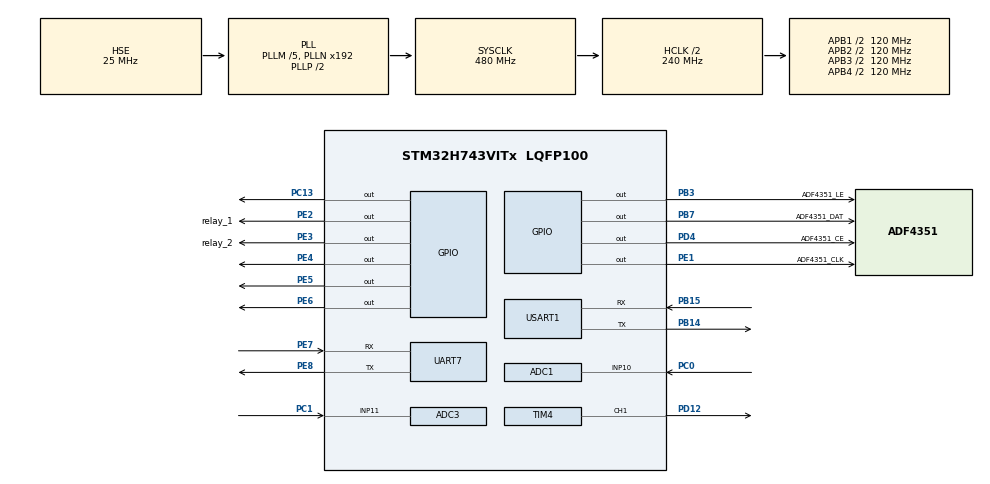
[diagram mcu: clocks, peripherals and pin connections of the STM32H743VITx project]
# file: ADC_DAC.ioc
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ADC1.Channel-1\#ChannelRegularConversion=ADC_CHANNEL_10
ADC1.ClockPrescaler=ADC_CLOCK_ASYNC_DIV1
ADC1.ConversionDataManagement=ADC_CONVERSIONDATA_DMA_CIRCULAR
ADC1.ExternalTrigConv=ADC_EXTERNALTRIG_T15_TRGO
ADC1.NbrOfConversion=1
ADC1.NbrOfConversionFlag=1
ADC1.OffsetNumber-1\#ChannelRegularConversion=ADC_OFFSET_NONE
ADC1.OffsetSignedSaturation-1\#ChannelRegularConversion=DISABLE
ADC1.OversamplingMode=ENABLE
ADC1.Rank-1\#ChannelRegularConversion=1
ADC1.Ratio=1024
ADC1.RightBitShift=ADC_RIGHTBITSHIFT_10
ADC1.SamplingTime-1\#ChannelRegularConversion=ADC_SAMPLETIME_810CYCLES_5
ADC1.master=1
ADC3.Channel-0\#ChannelRegularConversion=ADC_CHANNEL_11
ADC3.ConversionDataManagement=ADC_CONVERSIONDATA_DMA_CIRCULAR
ADC3.ExternalTrigConv=ADC_EXTERNALTRIG_T1_TRGO
ADC3.NbrOfConversionFlag=1
ADC3.OffsetNumber-0\#ChannelRegularConversion=ADC_OFFSET_NONE
ADC3.OffsetSignedSaturation-0\#ChannelRegularConversion=DISABLE
ADC3.OversamplingMode=ENABLE
ADC3.Rank-0\#ChannelRegularConversion=1
ADC3.Ratio=1024
ADC3.RightBitShift=ADC_RIGHTBITSHIFT_10
ADC3.SamplingTime-0\#ChannelRegularConversion=ADC_SAMPLETIME_1CYCLE_5
CORTEX_M7.AccessPermission-Cortex_Memory_Protection_Unit_Region0_Settings=MPU_REGION_FULL_ACCESS
CORTEX_M7.AccessPermission-Cortex_Memory_Protection_Unit_Region1_Settings=MPU_REGION_FULL_ACCESS
CORTEX_M7.AccessPermission-Cortex_Memory_Protection_Unit_Region2_Settings=MPU_REGION_FULL_ACCESS
CORTEX_M7.AccessPermission-Cortex_Memory_Protection_Unit_Region3_Settings=MPU_REGION_FULL_ACCESS
CORTEX_M7.AccessPermission-Cortex_Memory_Protection_Unit_Region4_Settings=MPU_REGION_FULL_ACCESS
CORTEX_M7.AccessPermission_S-Cortex_Memory_Protection_Unit_Region1_Settings_S=MPU_REGION_FULL_ACCESS
CORTEX_M7.AccessPermission_S-Cortex_Memory_Protection_Unit_Region2_Settings_S=MPU_REGION_FULL_ACCESS
CORTEX_M7.AccessPermission_Spec=MPU_REGION_FULL_ACCESS
CORTEX_M7.BaseAddress-Cortex_Memory_Protection_Unit_Region0_Settings=0x24000000
CORTEX_M7.BaseAddress-Cortex_Memory_Protection_Unit_Region1_Settings=0x30000000
CORTEX_M7.BaseAddress-Cortex_Memory_Protection_Unit_Region2_Settings=0x30020000
CORTEX_M7.BaseAddress-Cortex_Memory_Protection_Unit_Region3_Settings=0x30040000
CORTEX_M7.BaseAddress-Cortex_Memory_Protection_Unit_Region4_Settings=0x38000000
CORTEX_M7.BaseAddress_S-Cortex_Memory_Protection_Unit_Region1_Settings_S=0x30000000
CORTEX_M7.BaseAddress_S-Cortex_Memory_Protection_Unit_Region2_Settings_S=0x30020000
CORTEX_M7.BaseAddress_Spec=0x24000000
CORTEX_M7.CPU_DCache=Enabled
CORTEX_M7.CPU_ICache=Enabled
CORTEX_M7.DisableExec_S-Cortex_Memory_Protection_Unit_Region1_Settings_S=MPU_INSTRUCTION_ACCESS_ENABLE
CORTEX_M7.DisableExec_S-Cortex_Memory_Protection_Unit_Region2_Settings_S=MPU_INSTRUCTION_ACCESS_ENABLE
CORTEX_M7.DisableExec_Spec=MPU_INSTRUCTION_ACCESS_ENABLE
CORTEX_M7.Enable-Cortex_Memory_Protection_Unit_Region0_Settings=MPU_REGION_ENABLE
CORTEX_M7.Enable-Cortex_Memory_Protection_Unit_Region1_Settings=MPU_REGION_ENABLE
CORTEX_M7.Enable-Cortex_Memory_Protection_Unit_Region2_Settings=MPU_REGION_ENABLE
CORTEX_M7.Enable-Cortex_Memory_Protection_Unit_Region3_Settings=MPU_REGION_ENABLE
CORTEX_M7.Enable-Cortex_Memory_Protection_Unit_Region4_Settings=MPU_REGION_ENABLE
CORTEX_M7.Enable_S-Cortex_Memory_Protection_Unit_Region1_Settings_S=MPU_REGION_ENABLE
CORTEX_M7.Enable_S-Cortex_Memory_Protection_Unit_Region2_Settings_S=MPU_REGION_ENABLE
CORTEX_M7.IsBufferable-Cortex_Memory_Protection_Unit_Region0_Settings=MPU_ACCESS_NOT_BUFFERABLE
CORTEX_M7.IsBufferable_S-Cortex_Memory_Protection_Unit_Region1_Settings_S=MPU_ACCESS_NOT_BUFFERABLE
CORTEX_M7.IsBufferable_Spec=MPU_ACCESS_BUFFERABLE
CORTEX_M7.IsCacheable-Cortex_Memory_Protection_Unit_Region0_Settings=MPU_ACCESS_NOT_CACHEABLE
CORTEX_M7.IsCacheable_S-Cortex_Memory_Protection_Unit_Region1_Settings_S=MPU_ACCESS_NOT_CACHEABLE
CORTEX_M7.IsCacheable_Spec=MPU_ACCESS_CACHEABLE
CORTEX_M7.IsShareable_Spec=MPU_ACCESS_NOT_SHAREABLE
CORTEX_M7.MPU_Control=MPU_PRIVILEGED_DEFAULT
CORTEX_M7.Size-Cortex_Memory_Protection_Unit_Region0_Settings=MPU_REGION_SIZE_512KB
CORTEX_M7.Size-Cortex_Memory_Protection_Unit_Region1_Settings=MPU_REGION_SIZE_128KB
CORTEX_M7.Size-Cortex_Memory_Protection_Unit_Region2_Settings=MPU_REGION_SIZE_128KB
CORTEX_M7.Size-Cortex_Memory_Protection_Unit_Region3_Settings=MPU_REGION_SIZE_32KB
CORTEX_M7.Size-Cortex_Memory_Protection_Unit_Region4_Settings=MPU_REGION_SIZE_64KB
CORTEX_M7.Size_S-Cortex_Memory_Protection_Unit_Region1_Settings_S=MPU_REGION_SIZE_128KB
CORTEX_M7.Size_S-Cortex_Memory_Protection_Unit_Region2_Settings_S=MPU_REGION_SIZE_128KB
CORTEX_M7.Size_Spec=MPU_REGION_SIZE_512KB
CORTEX_M7.SubRegionDisable_Spec=0x0
CORTEX_M7.TypeExtField-Cortex_Memory_Protection_Unit_Region0_Settings=MPU_TEX_LEVEL1
CORTEX_M7.TypeExtField-Cortex_Memory_Protection_Unit_Region1_Settings=MPU_TEX_LEVEL1
CORTEX_M7.TypeExtField-Cortex_Memory_Protection_Unit_Region2_Settings=MPU_TEX_LEVEL1
CORTEX_M7.TypeExtField-Cortex_Memory_Protection_Unit_Region3_Settings=MPU_TEX_LEVEL1
CORTEX_M7.TypeExtField-Cortex_Memory_Protection_Unit_Region4_Settings=MPU_TEX_LEVEL1
CORTEX_M7.TypeExtField_S-Cortex_Memory_Protection_Unit_Region1_Settings_S=MPU_TEX_LEVEL1
CORTEX_M7.TypeExtField_S-Cortex_Memory_Protection_Unit_Region2_Settings_S=MPU_TEX_LEVEL1
CORTEX_M7.TypeExtField_Spec=MPU_TEX_LEVEL1
Dma.ADC1.0.Direction=DMA_PERIPH_TO_MEMORY
Dma.ADC1.0.EventEnable=DISABLE
Dma.ADC1.0.FIFOMode=DMA_FIFOMODE_DISABLE
Dma.ADC1.0.Instance=DMA1_Stream1
Dma.ADC1.0.MemDataAlignment=DMA_MDATAALIGN_HALFWORD
Dma.ADC1.0.MemInc=DMA_MINC_ENABLE
Dma.ADC1.0.Mode=DMA_NORMAL
Dma.ADC1.0.PeriphDataAlignment=DMA_PDATAALIGN_HALFWORD
Dma.ADC1.0.PeriphInc=DMA_PINC_DISABLE
Dma.ADC1.0.Polarity=HAL_DMAMUX_REQ_GEN_RISING
Dma.ADC1.0.Priority=DMA_PRIORITY_HIGH
Dma.ADC1.0.RequestNumber=1
Dma.ADC1.0.SignalID=NONE
Dma.ADC1.0.SyncEnable=DISABLE
Dma.ADC1.0.SyncPolarity=HAL_DMAMUX_SYNC_NO_EVENT
Dma.ADC1.0.SyncRequestNumber=1
Dma.ADC1.0.SyncSignalID=NONE
Dma.ADC3.1.Direction=DMA_PERIPH_TO_MEMORY
Dma.ADC3.1.EventEnable=DISABLE
Dma.ADC3.1.FIFOMode=DMA_FIFOMODE_DISABLE
Dma.ADC3.1.Instance=DMA2_Stream1
Dma.ADC3.1.MemDataAlignment=DMA_MDATAALIGN_HALFWORD
Dma.ADC3.1.MemInc=DMA_MINC_ENABLE
Dma.ADC3.1.Mode=DMA_NORMAL
Dma.ADC3.1.PeriphDataAlignment=DMA_PDATAALIGN_HALFWORD
Dma.ADC3.1.PeriphInc=DMA_PINC_DISABLE
Dma.ADC3.1.Polarity=HAL_DMAMUX_REQ_GEN_RISING
Dma.ADC3.1.Priority=DMA_PRIORITY_HIGH
Dma.ADC3.1.RequestNumber=1
Dma.ADC3.1.SignalID=NONE
Dma.ADC3.1.SyncEnable=DISABLE
Dma.ADC3.1.SyncPolarity=HAL_DMAMUX_SYNC_NO_EVENT
Dma.ADC3.1.SyncRequestNumber=1
Dma.ADC3.1.SyncSignalID=NONE
Dma.Request0=ADC1
Dma.Request1=ADC3
Mcu.Family=STM32H7
Mcu.Name=STM32H743VITx
Mcu.Package=LQFP100
NVIC.DMA1_Stream1_IRQn=true\:0\:0\:false\:false\:true\:false\:true\:true
NVIC.DMA2_Stream1_IRQn=true\:0\:0\:false\:false\:true\:false\:true\:true
NVIC.PriorityGroup=NVIC_PRIORITYGROUP_4
NVIC.TIM3_IRQn=true\:0\:0\:false\:false\:true\:true\:true\:true
NVIC.TIM4_IRQn=true\:0\:0\:false\:false\:true\:true\:true\:true
NVIC.UART7_IRQn=true\:0\:0\:false\:false\:true\:true\:true\:true
PA13\ (JTMS/SWDIO).Mode=Serial_Wire
PA13\ (JTMS/SWDIO).Signal=DEBUG_JTMS-SWDIO
PA14\ (JTCK/SWCLK).Mode=Serial_Wire
PA14\ (JTCK/SWCLK).Signal=DEBUG_JTCK-SWCLK
PB14.Mode=Asynchronous
PB14.Signal=USART1_TX
PB15.Mode=Asynchronous
PB15.Signal=USART1_RX
PB3\ (JTDO/TRACESWO).GPIO_Label=ADF4351_LE
PB3\ (JTDO/TRACESWO).GPIO_PuPd=GPIO_PULLUP
PB3\ (JTDO/TRACESWO).GPIO_Speed=GPIO_SPEED_FREQ_VERY_HIGH
PB3\ (JTDO/TRACESWO).PinState=GPIO_PIN_SET
PB3\ (JTDO/TRACESWO).Signal=GPIO_Output
PB7.GPIO_Label=ADF4351_DAT
PB7.GPIO_PuPd=GPIO_PULLUP
PB7.GPIO_Speed=GPIO_SPEED_FREQ_VERY_HIGH
PB7.PinState=GPIO_PIN_SET
PB7.Signal=GPIO_Output
PC0.Signal=ADCx_INP10
PC1.Signal=ADCx_INP11
PC13.GPIO_PuPd=GPIO_PULLDOWN
PC13.PinState=GPIO_PIN_SET
PC13.Signal=GPIO_Output
PD12.Signal=S_TIM4_CH1
PD4.GPIO_Label=ADF4351_CE
PD4.GPIO_PuPd=GPIO_PULLUP
PD4.GPIO_Speed=GPIO_SPEED_FREQ_VERY_HIGH
PD4.PinState=GPIO_PIN_SET
PD4.Signal=GPIO_Output
PE1.GPIO_Label=ADF4351_CLK
PE1.GPIO_PuPd=GPIO_PULLUP
PE1.GPIO_Speed=GPIO_SPEED_FREQ_VERY_HIGH
PE1.PinState=GPIO_PIN_SET
PE1.Signal=GPIO_Output
PE2.GPIO_Label=relay_1
PE2.GPIO_PuPd=GPIO_PULLDOWN
PE2.GPIO_Speed=GPIO_SPEED_FREQ_VERY_HIGH
PE2.PinState=GPIO_PIN_RESET
PE2.Signal=GPIO_Output
PE3.GPIO_Label=relay_2
PE3.GPIO_PuPd=GPIO_PULLDOWN
PE3.GPIO_Speed=GPIO_SPEED_FREQ_VERY_HIGH
PE3.Signal=GPIO_Output
PE4.GPIO_PuPd=GPIO_PULLDOWN
PE4.GPIO_Speed=GPIO_SPEED_FREQ_VERY_HIGH
PE4.Signal=GPIO_Output
PE5.GPIO_PuPd=GPIO_PULLDOWN
PE5.GPIO_Speed=GPIO_SPEED_FREQ_VERY_HIGH
PE5.Signal=GPIO_Output
PE6.GPIO_PuPd=GPIO_PULLDOWN
PE6.GPIO_Speed=GPIO_SPEED_FREQ_VERY_HIGH
PE6.Signal=GPIO_Output
PE7.Mode=Asynchronous
PE7.Signal=UART7_RX
PE8.Mode=Asynchronous
PE8.Signal=UART7_TX
PH0-OSC_IN\ (PH0).Mode=HSE-External-Oscillator
PH0-OSC_IN\ (PH0).Signal=RCC_OSC_IN
PH1-OSC_OUT\ (PH1).Mode=HSE-External-Oscillator
PH1-OSC_OUT\ (PH1).Signal=RCC_OSC_OUT
ProjectManager.HeapSize=0x200
ProjectManager.StackSize=0x7400
ProjectManager.TargetToolchain=MDK-ARM V5.32
RCC.ADCFreq_Value=72000000
RCC.APB1Freq_Value=120000000
RCC.APB2Freq_Value=120000000
RCC.APB3Freq_Value=120000000
RCC.APB4Freq_Value=120000000
RCC.CortexFreq_Value=480000000
RCC.D1PPRE=RCC_APB3_DIV2
RCC.D2PPRE1=RCC_APB1_DIV2
RCC.D2PPRE2=RCC_APB2_DIV2
RCC.D3PPRE=RCC_APB4_DIV2
RCC.DIVM1=5
RCC.DIVM2=25
RCC.DIVN1=192
RCC.DIVN2=360
RCC.DIVP2=5
RCC.HCLKFreq_Value=240000000
RCC.HPRE=RCC_HCLK_DIV2
RCC.HSE_Timout=5000
RCC.PLLSourceVirtual=RCC_PLLSOURCE_HSE
RCC.ProductRev=revV
RCC.SYSCLKFreq_VALUE=480000000
RCC.SYSCLKSource=RCC_SYSCLKSOURCE_PLLCLK
RCC.USBFreq_Value=480000000
SH.ADCx_INP10.0=ADC2_INP10
SH.ADCx_INP10.1=ADC1_INP10,IN10-Single-Ended
SH.ADCx_INP11.0=ADC3_INP11,IN11-Single-Ended
SH.S_TIM4_CH1.0=TIM4_CH1,PWM Generation1 CH1
TIM1.AutoReloadPreload=TIM_AUTORELOAD_PRELOAD_ENABLE
TIM1.Period=50-1
TIM1.Prescaler=60-1
TIM1.TIM_MasterOutputTrigger=TIM_TRGO_UPDATE
TIM15.AutoReloadPreload=TIM_AUTORELOAD_PRELOAD_ENABLE
TIM15.Period=50-1
TIM15.Prescaler=60-1
TIM15.TIM_MasterOutputTrigger=TIM_TRGO_UPDATE
TIM2.AutoReloadPreload=TIM_AUTORELOAD_PRELOAD_ENABLE
TIM2.Period=20-1
TIM2.Prescaler=240-1
TIM3.AutoReloadPreload=TIM_AUTORELOAD_PRELOAD_ENABLE
TIM3.Period=100-1
TIM3.Prescaler=240-1
TIM4.AutoReloadPreload=TIM_AUTORELOAD_PRELOAD_ENABLE
TIM4.Channel-PWM\ Generation1\ CH1=TIM_CHANNEL_1
TIM4.Period=10-1
TIM4.Prescaler=3-1
TIM4.Pulse-PWM\ Generation1\ CH1=5-1
TIM6.AutoReloadPreload=TIM_AUTORELOAD_PRELOAD_ENABLE
TIM6.Period=200-1
TIM6.Prescaler=1200-1
TIM6.TIM_MasterOutputTrigger=TIM_TRGO_UPDATE
TIM7.Prescaler=239
UART7.RXFIFOThreshold=RXFIFO_THRESHOLD_1EIGHTHFULL
UART7.TXFIFOThreshold=TXFIFO_THRESHOLD_1EIGHTHFULL
USART1.VirtualMode-Asynchronous=VM_ASYNC
VP_TIM15_VS_ClockSourceINT.Mode=Internal
VP_TIM1_VS_ClockSourceINT.Mode=Internal
VP_TIM2_VS_ClockSourceINT.Mode=Internal
VP_TIM3_VS_ClockSourceINT.Mode=Internal
VP_TIM4_VS_ClockSourceINT.Mode=Internal
VP_TIM6_VS_ClockSourceINT.Mode=Enable_Timer
VP_TIM7_VS_ClockSourceINT.Mode=Enable_Timer
board=custom

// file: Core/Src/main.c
/* USER CODE BEGIN Header */
/**
  ******************************************************************************
  * @file           : main.c
  * @brief          : Main program body
  ******************************************************************************
  * @attention
  *
  * Copyright (c) 2022 STMicroelectronics.
  * All rights reserved.
  *
  * This software is licensed under terms that can be found in the LICENSE file
  * in the root directory of this software component.
  * If no LICENSE file comes with this software, it is provided AS-IS.
  *
  ******************************************************************************
  */
/* USER CODE END Header */
#include "main.h"
#include "adc.h"
#include "dma.h"
#include "tim.h"
#include "usart.h"
#include "gpio.h"

/* USER CODE BEGIN Includes */
int length_flag = 0;
int load_flag = 0;
char screen_message[30 ] = {0};
uint32_t frequency = 25000000;
/* USER CODE END Includes */

/* USER CODE BEGIN PTD */
ALIGN_32BYTES (uint16_t adc1_data[1000])  __attribute__((section(".ARM.__at_0x30020000")));
ALIGN_32BYTES (uint16_t adc3_data[1000]) 	__attribute__((section(".ARM.__at_0x30000000")));

//存放单个频点100次测量的结果
float M_single[100] = {0};
//临时存放，用于数据的排序
float comp[100] = {0};
//表示adc采集完成__at_0x24000000
__IO uint8_t AdcConvEnd = 0;
//全局临时变量，用于各种for循环
uint32_t x_tmp = 0;
uint32_t y_tmp = 0;
uint32_t z_tmp = 0;
//标志位，表示初始化设计分段相关的数据
uint32_t check_K_flag = 0;

//用于存放dac输出的值
uint16_t Dat[20]={2084};
//////////////////////////////////////////////////////
//以下数据用于在判断完成线长的范围后进行具体线长的测量
//////////////////////////////////////////////////////
//三个测量区间的相位检测起始频率
float M10_fre_start = 6000000;//6M
float M14_fre_start = 5000000;//5M
float M18_fre_start = 4000000;//4M

float M5_fre_start 		= 36000000;//4M
float CM250_fre_start = 93000000;//93M
float CM100_fre_start = 37000000;//37M
float CM50_fre_start 	= 75000000;//75M
float CM20_fre_start 	= 113000000;//113M
float CM2_fre_start 	= 182000000;//182M

//存放初始化过程中测量得到的四个长度下的值

float M5_START[10] 		= {154,153,152,151,150,149,148,147,146,145};
float CM250_START[10] = {147,145,144,143,142,141,140,139,137,136};
float CM100_START[10] = {147,145,144,143,142,141,140,139,137,136};
float CM50_START[10] 	= {166,166,166,165,165,165,165,165,165,165};
float CM20_START[10] 	= {151,151,151,151,151,151,151,151,151,151};
float CM2_START[10] 	= {147,145,144,143,142,141,140,139,137,136};

float M5_END[10] 		= {58,56,55,52,52,50,50,48,47,45};
float CM250_END[10] = {57,56,54,52,51,50,49,47,46,44};
float CM100_END[10] = {57,56,54,52,51,50,49,47,46,44};
float CM50_END[10] 	= {57,56,54,52,51,50,49,47,46,44};
float CM20_END[10] 	= {57,57,57,57,57,57,57,56,56,56};
float CM2_END[10] 	= {21,21,21,21,21,21,21,21,21,21};

float M10_START[10] = {147,145,144,143,142,141,140,139,137,136};
float M14_START[10] = {109,108,108,107,107,105,105,104,104,104};
float M18_START[10] = {103,102,101,101,100,100,99,98,98,97};
float M10_END[10] = {57,56,54,52,51,50,49,47,46,44};
float M14_END[10] = {38,37,35,33,31,29,27,25,24,22};
float M18_END[10] = {73,71,69,67,65,63,60,58,56,54};
//存放三个测量区间的数据的斜率
float M10_K[10] = {0.224775,0.222278, 0.224775, 0.227273, 0.227273, 0.224775, 0.227273, 0.227273, 0.227273, 0.229770};
float M14_K[10] = {0.182848, 0.182848, 0.187999, 0.190574, 0.195725, 0.195725, 0.200876, 0.200876, 0.206026, 0.211177};
float M18_K[10] = {0.15345, 0.15857, 0.16368, 0.17391, 0.17903, 0.18926, 0.19949, 0.20460, 0.21483, 0.21995};

float M5_K[10] 		= {0.224775,0.222278, 0.224775, 0.227273, 0.227273, 0.224775, 0.227273, 0.227273, 0.227273, 0.229770};
float CM250_K[10] = {0.182848, 0.182848, 0.187999, 0.190574, 0.195725, 0.195725, 0.200876, 0.200876, 0.206026, 0.211177};
float CM100_K[10] 	= {0.15345, 0.15857, 0.16368, 0.17391, 0.17903, 0.18926, 0.19949, 0.20460, 0.21483, 0.21995};
float CM50_K[10]	 = {0.224775,0.222278, 0.224775, 0.227273, 0.227273, 0.224775, 0.227273, 0.227273, 0.227273, 0.229770};
float CM20_K[10] 	= {0.182848, 0.182848, 0.187999, 0.190574, 0.195725, 0.195725, 0.200876, 0.200876, 0.206026, 0.211177};
float CM2_K[10] 	= {0.15345, 0.15857, 0.16368, 0.17391, 0.17903, 0.18926, 0.19949, 0.20460, 0.21483, 0.21995};

//存放测量得到的10个相位值
float MUnknown[10] = {0};

//存放测量得到的线的长度
float Mlength = 15;

////////////////////////////////////////////////////////////
//以下数据用于判断线长属于哪个范围已进行后续的较为准确的测量
////////////////////////////////////////////////////////////
//存放在1M-2M测量的10个点的相位值
float M1_length[10] = {0};
//1M-2M测量的数据的对应频率值
float M1_fre[10] = {0};
//存放在1M-2M范围内经过校准后得到的斜率值，该值将是后续判断的基础

float M2_CM2 		= 0;
float M2_CM20 	= 33.714287 ;
float M2_CM50		= 49.999992 ;
float M2_CM100	= 80.571388;
float M2_CM250 	= 176.857071;
float M2_M5 		= 0;

float M1_5M  = 48.606060;
float M1_10M = 83.696968;
float M1_14M = 111.757637;
float M1_18M = 143.030426;
float M1_20M = 154.666550;
//存放在1M-2M范围内最终得到的斜率
float M1_Unknown = 0;
float M2_Unknown = 0;
//标志位，用于标识属于得到的测量结果属于哪个测量范围
uint32_t scale_flag = 0;

////////////////////////////////////////////////////////////
//以下数据用于负载判断与计算
////////////////////////////////////////////////////////////
//负载的类型标志位：0：开路;1:电阻;2:电容。
uint32_t Load_type = 0;
//ads1256在300-500mV的校正系数
float calib1256 = 0.000000603;
float Res_low 	= 0;
float Res_high 	= 0;
//用于校准的值
float Res_10M = 1.260830;
float Res_20M = 2.629039;
float Res_10M_K = 0.12608;
float Res_20M_K = 0.13145;
//电阻的大小
float Res_data = 0;
//电阻的校正标志位
uint32_t Res_calib_flag = 0;
//电缆的短路电阻阻值
float Res_length = 0;

//电容的长度测量值
float Cap_length = 0;
//电容的大小
float Cap_data = 0;
//参考的电缆容值与倍数乘积
float Cap_ref  = 1730;

void adc3_init(void)
{
//	HAL_ADC_DeInit(&hadc3);
	MX_ADC3_Init();	//初始化调用放这里, 确保在MX_DMA_Init()初始化后面
	Delay_Us(100);	//有地方说这里可以等等电压稳定后再校准

	if (HAL_ADCEx_Calibration_Start(&hadc3, ADC_CALIB_OFFSET, ADC_SINGLE_ENDED) != HAL_OK)
	{
			printf("hadc1 error with HAL_ADCEx_Calibration_Start\r\n");
			Error_Handler();
	}

	if (HAL_ADC_Start_DMA(&hadc3, (uint32_t *)adc3_data, 16) != HAL_OK)
	{
			printf("hadc3 error with HAL_ADC_Start_DMA\r\n");
			Error_Handler();
	}

	HAL_TIM_Base_Start(&htim1);
	while (!AdcConvEnd);
	AdcConvEnd = 0;
	HAL_ADC_DeInit(&hadc3);

}
void adc_saopin(void)
{
	MX_ADC1_Init();	//初始化调用放这里, 确保在MX_DMA_Init()初始化后面
	Delay_Us(100);	//有地方说这里可以等等电压稳定后再校准

	if (HAL_ADCEx_Calibration_Start(&hadc1, ADC_CALIB_OFFSET, ADC_SINGLE_ENDED) != HAL_OK)
	{
			printf("hadc1 error with HAL_ADCEx_Calibration_Start\r\n");
			Error_Handler();
	}

	if (HAL_ADC_Start_DMA(&hadc1, (uint32_t *)adc1_data, 16) != HAL_OK)
	{
			printf("hadc1 error with HAL_ADC_Start_DMA\r\n");
			Error_Handler();
	}

	HAL_TIM_Base_Start(&htim15);
	while (!AdcConvEnd);
	AdcConvEnd = 0;
	HAL_ADC_DeInit(&hadc1);
}

void SineWave()
{
    uint16_t i;
    for( i=0;i<20;i++)
    {
  		Dat[i]=2048;
    }
}

float get1256(void)
{
	float get_data = 0;
	get_data = ADS1256GetVolt(ADS1256_MUXP_AIN0,ADS1256_MUXN_AINCOM,ADS1256_GAIN_1);
	return get_data;
}

/* USER CODE END PTD */

void SystemClock_Config(void);
void PeriphCommonClock_Config(void);
static void MPU_Config(void);

int main(void)
{
  /* USER CODE BEGIN 1 */
	//系统初始化代码
//	{
  /* USER CODE END 1 */

  /* MPU Configuration--------------------------------------------------------*/
  MPU_Config();

  /* Enable I-Cache---------------------------------------------------------*/
  SCB_EnableICache();

  /* Enable D-Cache---------------------------------------------------------*/
  SCB_EnableDCache();

  /* MCU Configuration--------------------------------------------------------*/

  /* Reset of all peripherals, Initializes the Flash interface and the Systick. */
  HAL_Init();

  /* USER CODE BEGIN Init */
	uint32_t saopin = 0;
  /* USER CODE END Init */

  /* Configure the system clock */
  SystemClock_Config();

/* Configure the peripherals common clocks */
  PeriphCommonClock_Config();

  /* Initialize all configured peripherals */
  MX_GPIO_Init();
  MX_DMA_Init();
  MX_TIM7_Init();
  MX_TIM6_Init();
  MX_ADC1_Init();
  MX_USART1_UART_Init();
  MX_ADC3_Init();
  MX_TIM15_Init();
  MX_TIM1_Init();
  MX_UART7_Init();
  MX_TIM2_Init();
  MX_TIM3_Init();
  MX_TIM4_Init();
  /* USER CODE BEGIN 2 */
	HAL_TIM_PWM_Start(&htim4,TIM_CHANNEL_1);  //开启PWM通道1
//	SineWave();//生成正弦数据
//	HAL_DAC_Start_DMA(&hdac1,DAC_CHANNEL_2,(uint32_t *)Dat,20,DAC_ALIGN_12B_R);//开启DMA-DAC
//	HAL_TIM_Base_Start(&htim6);//打开定时器6
	double data = 0;
	float adata = 0;
	Close_All();
	Init_ad9910();
	Write_Amplitude(100);
	Freq_convert(10000);

	ADF4351Init();
	ADF4351WriteFreq(200);	//设置固定输出频率为400MHZ
	ADS1256_Init(ADS1256_GAIN_1,ADS1256_DRATE_2000SPS);
	workstate(0);
	gpio_length();
	uint16_t scope_tmp = 0;
	uint32_t gap = 100000;
	printf("hello\r\n");
	loadstate(0);
	show_load_data(0);

//	for(scope_tmp = 0;scope_tmp < 10;scope_tmp++)
//	{
//		x_tmp = 1000000+gap*scope_tmp;
//		Freq_convert(x_tmp);
//		printf("x_tmp = %d\r\n",x_tmp/100000);
//		Delay_Us(100);
//		for(x_tmp = 0;x_tmp<10;x_tmp++)
//		{
//			comp[x_tmp] = get1256();
//		}
//		QuickSort(comp,0,9);
//		MUnknown[0] =comp[4];
//		printf("%f\r\n",MUnknown[0]);
//	}
//	MUnknown[0] = length_scope();
//	printf("MUnknown[0]=%f\r\n",MUnknown[0]);

	Close_All();
	workstate(1);
	for(scope_tmp = 0;scope_tmp < 10;scope_tmp++)
	{
		CM2_K[scope_tmp]  	= (CM2_START[scope_tmp] 	-CM2_END[scope_tmp])	/18.5;
		CM20_K[scope_tmp]  	= (CM20_START[scope_tmp] 	-CM20_END[scope_tmp])	/23.7;
		CM50_K[scope_tmp]  	= (CM50_START[scope_tmp] 	-CM50_END[scope_tmp])	/54.7;
		CM100_K[scope_tmp]  = (CM100_START[scope_tmp] -CM100_END[scope_tmp])/161;
		CM250_K[scope_tmp]  = (CM250_START[scope_tmp] -CM250_END[scope_tmp])/260.4;
		M5_K[scope_tmp]  = (M5_START[scope_tmp] -M5_END[scope_tmp])/479.5;
		M10_K[scope_tmp] = (M10_START[scope_tmp]-M10_END[scope_tmp])/400.4;
		M14_K[scope_tmp] = (M14_START[scope_tmp]-M14_END[scope_tmp])/388.3;
		M18_K[scope_tmp] = (M18_START[scope_tmp]-M18_END[scope_tmp])/195.5;
	}
	workstate(0);
	while(1)
	{
		if(length_flag == 1)
		{
			gpio_length();
			workstate(1);
			length_flag = 0;
			M1_Unknown = length_scope();
			scope_judge();
		  printf("%d\r\n",scale_flag);
			cal_length();
			show_length(Mlength);
			workstate(0);
			loadstate(0);
			show_load_data(0);
			Cap_length = Mlength;
			Close_All();
		}
		if(load_flag == 1)
		{
			gpio_cap();
			workstate(1);
			load_flag = 0;
			Cap_value_get();
//			show_length(Mlength);
			Cap_data = (Mlength-Cap_length-5)*96.45/100;
			if(Cap_data<60)
			{
				loadstate(0);
				gpio_res();
				Init_ad9910();
				Write_Amplitude(100);
				Freq_convert(1000000);
				Delay_Us(100);
				for(x_tmp = 0;x_tmp<10;x_tmp++)
				{
					comp[x_tmp] = get1256();
				}
				QuickSort(comp,0,9);
				Res_low =comp[4];
				printf("%f\r\n",Res_low);
				if(Res_low < 168)
				{
					loadstate(0);
					show_load_data(0);
				}
				else
				{
					if(Cap_length>1370)
					{
						Res_data = -0.002870*Cap_length+0.389264*Res_low-53.506447;
						if(Res_data>27)
						{
							Res_data = Res_data-2;
						}
						if(Res_data<12.4)
						{
							Res_data = Res_data-1.45;
						}
					}
					else
					{
						Res_data = -0.001472*Cap_length+0.360192*Res_low-49.938362;
						if(Res_data <13.5)
						{
							Res_data = Res_data-1.8;
						}
						if((Res_data > 15.5)&&(Res_data<25))
						{
							Res_data = Res_data+0.5;
						}
					}
					loadstate(1);
					show_load_data(Res_data);
				}
			}

			else
			{	//小于16m的时候认为会测到偏大的
				if((Cap_length <1650)&&(Cap_length>9000))
				{
					if(Cap_data<200)
					{
						Cap_data = Cap_data-(1650-Cap_length)/1650*18;
						//跨段修正
						if((Cap_length<1400)&&(Mlength>1400))
						{
							Cap_data = Cap_data-25;
						}
					}
					else
					{
						Cap_data = Cap_data-(1650-Cap_length)/1650*15;
						//跨段修正
						if((Cap_length<1400)&&(Mlength>1400))
						{
							Cap_data = Cap_data-15;
						}
					}
				}
				//大于16m的时候认为会测到偏大的
				else if(Cap_length>=1650)
				{
					if(Cap_data<200)
					{
						if(Cap_data<150)
						{
							Cap_data = 100+Cap_data/100;
						}
						else
						{
							Cap_data = 150+Cap_data/100;
						}
					}
					else
					{
						Cap_data = Cap_data-5;
					}
				}
				loadstate(2);
				show_load_data(Cap_data);
			}

			Close_All();
			workstate(0);
		}
		if(check_K_flag == 10)
		{
			gpio_length();
			workstate(1);
			M1_10M = length_scope();
			calibration_show(M1_10M);
			printf("%f\r\n\r\n",M1_10M);
			get_K();
			workstate(0);
			check_K_flag = 0;
			Close_All();
		}
		else if(check_K_flag == 14)
		{
			gpio_length();
			workstate(1);
			M1_14M = length_scope();
			printf("%f\r\n\r\n",M1_14M);
			calibration_show(M1_14M);
			get_K();
			workstate(0);
			check_K_flag = 0;
			Close_All();
		}
		else if(check_K_flag == 18)
		{
			gpio_length();
			workstate(1);
			M1_18M = length_scope();
			printf("%f\r\n\r\n",M1_18M);
			calibration_show(M1_18M);
			get_K();
			workstate(0);
			check_K_flag = 0;
			Close_All();
		}
		else if(check_K_flag == 20)
		{
			gpio_length();
			workstate(1);
			M1_20M = length_scope();
			printf("%f\r\n\r\n",M1_20M);
			calibration_show(M1_20M);
			get_K();
			workstate(0);
			check_K_flag = 0;
			Close_All();
		}
		else if(check_K_flag == 81)
		{
			gpio_length();
			workstate(1);
			M1_5M = length_scope();
			printf("%f\r\n\r\n",M1_5M);
			calibration_show(M1_5M);
			get_K();
			workstate(0);
			check_K_flag = 0;
			Close_All();
		}
		else if(check_K_flag == 82)
		{
			gpio_length();
			workstate(1);
			M2_CM250 = length_scope_1M();
			printf("%f\r\n\r\n",M2_CM250);
			calibration_show(M2_CM250);
			get_K();
			workstate(0);
			check_K_flag = 0;
			Close_All();
		}
		else if(check_K_flag == 83)
		{
			gpio_length();
			workstate(1);
			M2_CM100 = length_scope_1M();
			printf("%f\r\n\r\n",M2_CM100);
			calibration_show(M2_CM100);
			get_K();
			workstate(0);
			check_K_flag = 0;
			Close_All();
		}
		else if(check_K_flag == 84)
		{
			gpio_length();
			workstate(1);
			M2_CM50 = length_scope_1M();
			printf("%f\r\n\r\n",M2_CM50);
			calibration_show(M2_CM50);
			get_K();
			workstate(0);
			check_K_flag = 0;
			Close_All();
		}
		else if(check_K_flag == 85)
		{
			gpio_length();
			workstate(1);
			M2_CM20 = length_scope_1M();
			printf("%f\r\n\r\n",M2_CM20);
			calibration_show(M2_CM20);
			get_K();
			workstate(0);
			check_K_flag = 0;
			Close_All();
		}
		else if(check_K_flag == 86)
		{
			gpio_length();
			workstate(1);
			M2_CM2 = length_scope_1M();
			printf("%f\r\n\r\n",M2_CM2);
			calibration_show(M2_CM2);
			get_K();
			workstate(0);
			check_K_flag = 0;
			Close_All();
		}
		else if(check_K_flag == 24)
		{
			gpio_length();
			workstate(1);
			//printf("\r\n");
			get_K();
			workstate(0);
			check_K_flag = 0;
			for(x_tmp = 0;x_tmp<10;x_tmp++)
			{
				//printf("M10_K= %f\r\n\r\n",M10_K[x_tmp]);
			}
			for(x_tmp = 0;x_tmp<10;x_tmp++)
			{
				//printf("M14_K= %f\r\n\r\n",M14_K[x_tmp]);
			}
			for(x_tmp = 0;x_tmp<10;x_tmp++)
			{
				//printf("M18_K= %f\r\n\r\n",M18_K[x_tmp]);
			}
			Close_All();
		}

	}

  /* USER CODE END 2 */

  /* Infinite loop */
  /* USER CODE BEGIN WHILE */

	adc_saopin();
	for (u16 temp = 0; temp< 16;temp++)
	{
		adata = (float)(adc1_data[temp])/65536*3300;
		printf("%f\r\n", adata);
	}
	Scan_cap();
	for (u16 temp = 0; temp< 20;temp++)
	{
		comp[temp] = ADS1256GetCap();
	}
	QuickSort(comp,0,19);
	data = comp[10];
	data=roundf(data);
	adata = 1000000000000*((1/(2*3.1415926*y_tmp))/(752*tan(data/10/180*3.1415926)))/2;
	printf("%lf\r\n",adata);
	Delay_Ms(1000);
	while(1)
	{
		for (u16 temp = 0; temp< 8;temp++)
		{
			comp[temp] = ADS1256GetCap();
		}
		QuickSort(comp,0,7);
		data = comp[4];
		data=roundf(data);
		data = 1000000000000*((1/(2*3.1415926*y_tmp))/(752*tan((data)/10/180*3.1415926)))/2-adata;
		data = (data-6.75)/(Cap_ref/adata);
		printf("%lf\r\n",data);
	}

  while (1)
  {

    /* USER CODE END WHILE */

  }
}

void SystemClock_Config(void)
{
  RCC_OscInitTypeDef RCC_OscInitStruct = {0};
  RCC_ClkInitTypeDef RCC_ClkInitStruct = {0};

  /** Supply configuration update enable
  */
  HAL_PWREx_ConfigSupply(PWR_LDO_SUPPLY);

  /** Configure the main internal regulator output voltage
  */
  __HAL_PWR_VOLTAGESCALING_CONFIG(PWR_REGULATOR_VOLTAGE_SCALE1);

  while(!__HAL_PWR_GET_FLAG(PWR_FLAG_VOSRDY)) {}

  __HAL_RCC_SYSCFG_CLK_ENABLE();
  __HAL_PWR_VOLTAGESCALING_CONFIG(PWR_REGULATOR_VOLTAGE_SCALE0);

  while(!__HAL_PWR_GET_FLAG(PWR_FLAG_VOSRDY)) {}

  /** Initializes the RCC Oscillators according to the specified parameters
  * in the RCC_OscInitTypeDef structure.
  */
  RCC_OscInitStruct.OscillatorType = RCC_OSCILLATORTYPE_HSE;
  RCC_OscInitStruct.HSEState = RCC_HSE_ON;
  RCC_OscInitStruct.PLL.PLLState = RCC_PLL_ON;
  RCC_OscInitStruct.PLL.PLLSource = RCC_PLLSOURCE_HSE;
  RCC_OscInitStruct.PLL.PLLM = 5;
  RCC_OscInitStruct.PLL.PLLN = 192;
  RCC_OscInitStruct.PLL.PLLP = 2;
  RCC_OscInitStruct.PLL.PLLQ = 2;
  RCC_OscInitStruct.PLL.PLLR = 2;
  RCC_OscInitStruct.PLL.PLLRGE = RCC_PLL1VCIRANGE_2;
  RCC_OscInitStruct.PLL.PLLVCOSEL = RCC_PLL1VCOWIDE;
  RCC_OscInitStruct.PLL.PLLFRACN = 0;
  if (HAL_RCC_OscConfig(&RCC_OscInitStruct) != HAL_OK)
  {
    Error_Handler();
  }

  /** Initializes the CPU, AHB and APB buses clocks
  */
  RCC_ClkInitStruct.ClockType = RCC_CLOCKTYPE_HCLK|RCC_CLOCKTYPE_SYSCLK
                              |RCC_CLOCKTYPE_PCLK1|RCC_CLOCKTYPE_PCLK2
                              |RCC_CLOCKTYPE_D3PCLK1|RCC_CLOCKTYPE_D1PCLK1;
  RCC_ClkInitStruct.SYSCLKSource = RCC_SYSCLKSOURCE_PLLCLK;
  RCC_ClkInitStruct.SYSCLKDivider = RCC_SYSCLK_DIV1;
  RCC_ClkInitStruct.AHBCLKDivider = RCC_HCLK_DIV2;
  RCC_ClkInitStruct.APB3CLKDivider = RCC_APB3_DIV2;
  RCC_ClkInitStruct.APB1CLKDivider = RCC_APB1_DIV2;
  RCC_ClkInitStruct.APB2CLKDivider = RCC_APB2_DIV2;
  RCC_ClkInitStruct.APB4CLKDivider = RCC_APB4_DIV2;

  if (HAL_RCC_ClockConfig(&RCC_ClkInitStruct, FLASH_LATENCY_4) != HAL_OK)
  {
    Error_Handler();
  }
}

void PeriphCommonClock_Config(void)
{
  RCC_PeriphCLKInitTypeDef PeriphClkInitStruct = {0};

  /** Initializes the peripherals clock
  */
  PeriphClkInitStruct.PeriphClockSelection = RCC_PERIPHCLK_ADC;
  PeriphClkInitStruct.PLL2.PLL2M = 25;
  PeriphClkInitStruct.PLL2.PLL2N = 360;
  PeriphClkInitStruct.PLL2.PLL2P = 5;
  PeriphClkInitStruct.PLL2.PLL2Q = 2;
  PeriphClkInitStruct.PLL2.PLL2R = 2;
  PeriphClkInitStruct.PLL2.PLL2RGE = RCC_PLL2VCIRANGE_0;
  PeriphClkInitStruct.PLL2.PLL2VCOSEL = RCC_PLL2VCOWIDE;
  PeriphClkInitStruct.PLL2.PLL2FRACN = 0;
  PeriphClkInitStruct.AdcClockSelection = RCC_ADCCLKSOURCE_PLL2;
  if (HAL_RCCEx_PeriphCLKConfig(&PeriphClkInitStruct) != HAL_OK)
  {
    Error_Handler();
  }
}

/* USER CODE BEGIN 4 */
void HAL_ADC_ConvCpltCallback(ADC_HandleTypeDef* hadc)
{
   if(hadc->Instance == ADC1)
	{
      //SCB_InvalidateDCache_by_Addr((uint32_t *) &adc1_data[0], ADC1_BUFFER_SIZE);
   }
	 AdcConvEnd = 1;
}

/* USER CODE END 4 */

/* MPU Configuration */

void MPU_Config(void)
{
  MPU_Region_InitTypeDef MPU_InitStruct = {0};

  /* Disables the MPU */
  HAL_MPU_Disable();

  /** Initializes and configures the Region and the memory to be protected
  */
  MPU_InitStruct.Enable = MPU_REGION_ENABLE;
  MPU_InitStruct.Number = MPU_REGION_NUMBER0;
  MPU_InitStruct.BaseAddress = 0x24000000;
  MPU_InitStruct.Size = MPU_REGION_SIZE_512KB;
  MPU_InitStruct.SubRegionDisable = 0x0;
  MPU_InitStruct.TypeExtField = MPU_TEX_LEVEL1;
  MPU_InitStruct.AccessPermission = MPU_REGION_FULL_ACCESS;
  MPU_InitStruct.DisableExec = MPU_INSTRUCTION_ACCESS_ENABLE;
  MPU_InitStruct.IsShareable = MPU_ACCESS_NOT_SHAREABLE;
  MPU_InitStruct.IsCacheable = MPU_ACCESS_NOT_CACHEABLE;
  MPU_InitStruct.IsBufferable = MPU_ACCESS_NOT_BUFFERABLE;

  HAL_MPU_ConfigRegion(&MPU_InitStruct);

  /** Initializes and configures the Region and the memory to be protected
  */
  MPU_InitStruct.Number = MPU_REGION_NUMBER1;
  MPU_InitStruct.BaseAddress = 0x30000000;
  MPU_InitStruct.Size = MPU_REGION_SIZE_128KB;

  HAL_MPU_ConfigRegion(&MPU_InitStruct);

  /** Initializes and configures the Region and the memory to be protected
  */
  MPU_InitStruct.Number = MPU_REGION_NUMBER2;
  MPU_InitStruct.BaseAddress = 0x30020000;

  HAL_MPU_ConfigRegion(&MPU_InitStruct);

  /** Initializes and configures the Region and the memory to be protected
  */
  MPU_InitStruct.Number = MPU_REGION_NUMBER3;
  MPU_InitStruct.BaseAddress = 0x30040000;
  MPU_InitStruct.Size = MPU_REGION_SIZE_32KB;

  HAL_MPU_ConfigRegion(&MPU_InitStruct);

  /** Initializes and configures the Region and the memory to be protected
  */
  MPU_InitStruct.Number = MPU_REGION_NUMBER4;
  MPU_InitStruct.BaseAddress = 0x38000000;
  MPU_InitStruct.Size = MPU_REGION_SIZE_64KB;

  HAL_MPU_ConfigRegion(&MPU_InitStruct);
  /* Enables the MPU */
  HAL_MPU_Enable(MPU_PRIVILEGED_DEFAULT);

}

void Error_Handler(void)
{
  __disable_irq();
  while (1)
  {
  }
}
